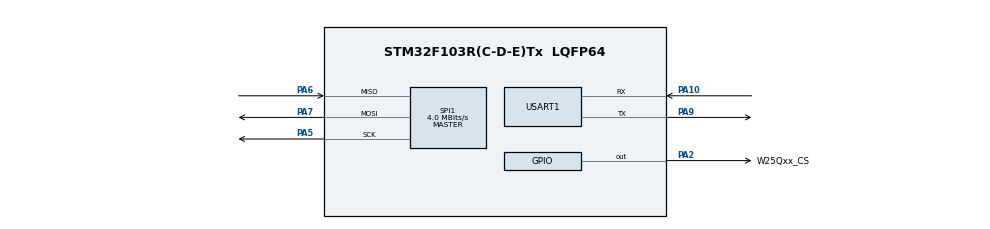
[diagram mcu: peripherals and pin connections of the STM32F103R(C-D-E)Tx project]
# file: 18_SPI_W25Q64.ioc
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FREERTOS.Tasks01=W25Qxx,24,256,W25Qxx_Entry,Default,NULL,Dynamic,NULL,NULL
Mcu.Family=STM32F1
Mcu.Name=STM32F103R(C-D-E)Tx
Mcu.Package=LQFP64
NVIC.PriorityGroup=NVIC_PRIORITYGROUP_4
NVIC.TIM7_IRQn=true\:15\:0\:false\:false\:true\:false\:false\:true\:true
NVIC.TimeBase=TIM7_IRQn
NVIC.TimeBaseIP=TIM7
PA10.Mode=Asynchronous
PA10.Signal=USART1_RX
PA13.Mode=Serial_Wire
PA13.Signal=SYS_JTMS-SWDIO
PA14.Mode=Serial_Wire
PA14.Signal=SYS_JTCK-SWCLK
PA2.GPIO_Label=W25Qxx_CS
PA2.GPIO_Speed=GPIO_SPEED_FREQ_HIGH
PA2.PinState=GPIO_PIN_SET
PA2.Signal=GPIO_Output
PA5.Mode=Full_Duplex_Master
PA5.Signal=SPI1_SCK
PA6.Mode=Full_Duplex_Master
PA6.Signal=SPI1_MISO
PA7.Mode=Full_Duplex_Master
PA7.Signal=SPI1_MOSI
PA9.Mode=Asynchronous
PA9.Signal=USART1_TX
PC14-OSC32_IN.Mode=LSE-External-Oscillator
PC14-OSC32_IN.Signal=RCC_OSC32_IN
PC15-OSC32_OUT.Mode=LSE-External-Oscillator
PC15-OSC32_OUT.Signal=RCC_OSC32_OUT
PD0-OSC_IN.Mode=HSE-External-Oscillator
PD0-OSC_IN.Signal=RCC_OSC_IN
PD1-OSC_OUT.Mode=HSE-External-Oscillator
PD1-OSC_OUT.Signal=RCC_OSC_OUT
ProjectManager.HeapSize=0x200
ProjectManager.StackSize=0x400
ProjectManager.TargetToolchain=MDK-ARM V5.32
RCC.APB1Freq_Value=8000000
RCC.APB2Freq_Value=8000000
SPI1.BaudRatePrescaler=SPI_BAUDRATEPRESCALER_2
SPI1.CalculateBaudRate=4.0 MBits/s
SPI1.Direction=SPI_DIRECTION_2LINES
SPI1.Mode=SPI_MODE_MASTER
SPI1.VirtualType=VM_MASTER
USART1.VirtualMode=VM_ASYNC
VP_FREERTOS_VS_CMSIS_V2.Mode=CMSIS_V2
VP_SYS_VS_tim7.Mode=TIM7
board=custom

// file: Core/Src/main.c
/* USER CODE BEGIN Header */
/**
  ******************************************************************************
  * @file           : main.c
  * @brief          : Main program body
  ******************************************************************************
  * @attention
  *
  * Copyright (c) 2024 STMicroelectronics.
  * All rights reserved.
  *
  * This software is licensed under terms that can be found in the LICENSE file
  * in the root directory of this software component.
  * If no LICENSE file comes with this software, it is provided AS-IS.
  *
  ******************************************************************************
  */
/* USER CODE END Header */
#include "main.h"
#include "cmsis_os.h"
#include "spi.h"
#include "usart.h"
#include "gpio.h"

void SystemClock_Config(void);
void MX_FREERTOS_Init(void);

int main(void)
{

  /* MCU Configuration--------------------------------------------------------*/

  /* Reset of all peripherals, Initializes the Flash interface and the Systick. */
  HAL_Init();

  /* Configure the system clock */
  SystemClock_Config();

  /* Initialize all configured peripherals */
  MX_GPIO_Init();
  MX_SPI1_Init();
  MX_USART1_UART_Init();

  /* Init scheduler */
  osKernelInitialize();

  /* Call init function for freertos objects (in freertos.c) */
  MX_FREERTOS_Init();

  /* Start scheduler */
  osKernelStart();

  /* We should never get here as control is now taken by the scheduler */
  /* Infinite loop */
  while (1)
  {

  }
}

void SystemClock_Config(void)
{
  RCC_OscInitTypeDef RCC_OscInitStruct = {0};
  RCC_ClkInitTypeDef RCC_ClkInitStruct = {0};

  /** Initializes the RCC Oscillators according to the specified parameters
  * in the RCC_OscInitTypeDef structure.
  */
  RCC_OscInitStruct.OscillatorType = RCC_OSCILLATORTYPE_HSI;
  RCC_OscInitStruct.HSIState = RCC_HSI_ON;
  RCC_OscInitStruct.HSICalibrationValue = RCC_HSICALIBRATION_DEFAULT;
  RCC_OscInitStruct.PLL.PLLState = RCC_PLL_NONE;
  if (HAL_RCC_OscConfig(&RCC_OscInitStruct) != HAL_OK)
  {
    Error_Handler();
  }

  /** Initializes the CPU, AHB and APB buses clocks
  */
  RCC_ClkInitStruct.ClockType = RCC_CLOCKTYPE_HCLK|RCC_CLOCKTYPE_SYSCLK
                              |RCC_CLOCKTYPE_PCLK1|RCC_CLOCKTYPE_PCLK2;
  RCC_ClkInitStruct.SYSCLKSource = RCC_SYSCLKSOURCE_HSI;
  RCC_ClkInitStruct.AHBCLKDivider = RCC_SYSCLK_DIV1;
  RCC_ClkInitStruct.APB1CLKDivider = RCC_HCLK_DIV1;
  RCC_ClkInitStruct.APB2CLKDivider = RCC_HCLK_DIV1;

  if (HAL_RCC_ClockConfig(&RCC_ClkInitStruct, FLASH_LATENCY_0) != HAL_OK)
  {
    Error_Handler();
  }
}

void HAL_TIM_PeriodElapsedCallback(TIM_HandleTypeDef *htim)
{
  if (htim->Instance == TIM7) {
    HAL_IncTick();
  }
}

void Error_Handler(void)
{
  __disable_irq();
  while (1)
  {
  }
}

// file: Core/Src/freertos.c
/* USER CODE BEGIN Header */
/**
  ******************************************************************************
  * File Name          : freertos.c
  * Description        : Code for freertos applications
  ******************************************************************************
  * @attention
  *
  * Copyright (c) 2024 STMicroelectronics.
  * All rights reserved.
  *
  * This software is licensed under terms that can be found in the LICENSE file
  * in the root directory of this software component.
  * If no LICENSE file comes with this software, it is provided AS-IS.
  *
  ******************************************************************************
  */
/* USER CODE END Header */

#include "FreeRTOS.h"
#include "task.h"
#include "main.h"
#include "cmsis_os.h"

/* USER CODE BEGIN Includes */
#include "w25qxx.h"
#include "stdio.h"
/* USER CODE END Includes */

/* Definitions for W25Qxx */
osThreadId_t W25QxxHandle;
const osThreadAttr_t W25Qxx_attributes = {
  .name = "W25Qxx",
  .stack_size = 256 * 4,
  .priority = (osPriority_t) osPriorityNormal,
};

void W25Qxx_Entry(void *argument);

void MX_FREERTOS_Init(void); /* (MISRA C 2004 rule 8.1) */

void MX_FREERTOS_Init(void) {

  /* Create the thread(s) */
  /* creation of W25Qxx */
  W25QxxHandle = osThreadNew(W25Qxx_Entry, NULL, &W25Qxx_attributes);

}

void W25Qxx_Entry(void *argument)
{
  /* USER CODE BEGIN W25Qxx_Entry */
  uint8_t id[3];
  BSP_W25Qx_Read_ID(id);
  printf("\r\nW25Qxx ID: %x %x %X\r\n", id[0], id[1], id[2]);

  uint8_t data[256];
  for (int i = 0; i < 256; i++)
  {
    data[i] = i;
  }
  BSP_W25Qx_Erase_Block(0x0A);
  printf("\r\nErase chip success.\r\n");
  BSP_W25Qx_Write(data, 0x0A, 256);

  uint8_t read_data[266];
  BSP_W25Qx_Read(read_data, 0x00, 266);
  for (int i = 0; i < 266; i++)
  {
    printf("%x ", read_data[i]);
  }
  /* Infinite loop */
  for(;;)
  {
    osDelay(50);
  }
  /* USER CODE END W25Qxx_Entry */
}
